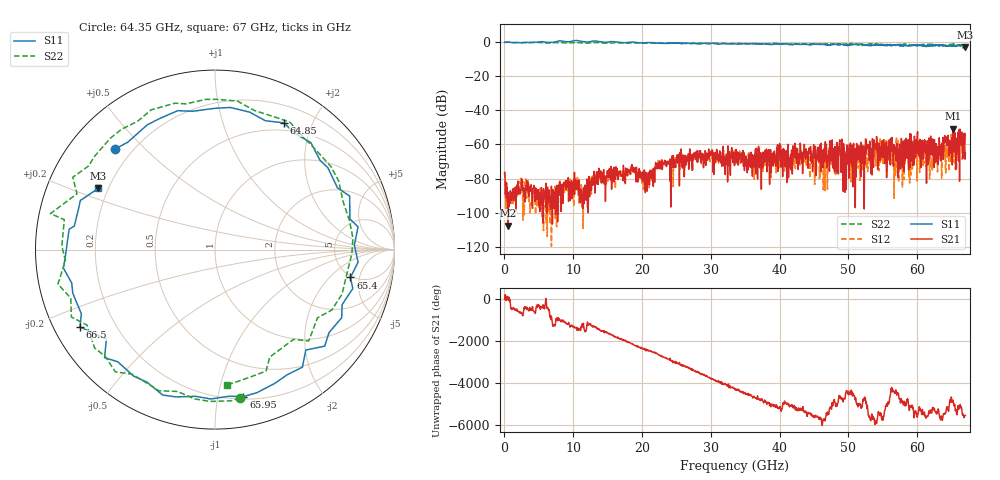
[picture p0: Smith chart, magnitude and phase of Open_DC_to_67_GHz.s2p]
#  HZ  S  MA  R  50.00
! Rohde & Schwarz ZVA67 4Ports - Version 4.11 - 1305.7002k04 SN: 101051
! Date: 2023-05-31 14:28:20
! Measurements: S11 S21 S12 S22
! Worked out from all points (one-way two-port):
!   1340 points, 50 MHz to 67 GHz, reference 50 ohm
!   highest |S21| = -50.64 dB at 65.2 GHz (marker M1); lowest = -107.7 dB at 500 MHz (marker M2)
!   lowest |S11| = -2.7 dB at 67 GHz (marker M3), VSWR 6.53, Z = 8.11 + j12 ohm
!   |S11| at or under -10 dB: nowhere
!   |S22| runs from -3.6 to 0.1 dB; largest |S21 - S12| = 0.0037
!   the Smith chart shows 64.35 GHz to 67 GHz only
!   S11 on the Smith chart (normalised r, x): 64.35 GHz: 0.14, +0.41; 64.85 GHz: 0.40, +1.61; 65.4 GHz: 4.82, -3.68; 65.95 GHz: 0.22, -1.19; 66.5 GHz: 0.08, -0.26; 67 GHz: 0.16, +0.24
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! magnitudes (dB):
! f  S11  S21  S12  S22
! 50 MHz  0.1  -76.4  -76.5  0.0
! 500 MHz  0.2  -107.7  -95.3  0.1
! 11.25 GHz  0.6  -91.0  -93.3  -0.3
! 18.55 GHz  0.2  -71.8  -74.4  -0.4
! 20.95 GHz  -0.1  -76.3  -82.8  -0.5
! 22.4 GHz  -0.5  -70.9  -70.4  -0.4
! 33.55 GHz  -0.9  -66.9  -71.5  -0.7
! 44.7 GHz  -1.1  -70.8  -64.2  -0.9
! 46.1 GHz  -1.1  -68.3  -71.8  -1.2
! 48.65 GHz  -1.2  -64.1  -65.2  -1.4
! 50.35 GHz  -1.4  -63.6  -69.7  -0.7
! 52.8 GHz  -1.7  -62.7  -76.0  -1.0
! 55.85 GHz  -1.5  -65.3  -69.1  -1.5
! 59.9 GHz  -2.1  -57.2  -61.7  -1.9
! 62.85 GHz  -1.8  -60.9  -61.1  -2.1
! 64.35 GHz  -2.0  -60.3  -63.1  -1.5
! 64.85 GHz  -1.9  -61.8  -65.3  -1.2
! 65.2 GHz  -2.3  -50.6  -67.6  -1.4
! 65.4 GHz  -2.3  -61.7  -59.8  -1.5
! 65.95 GHz  -1.6  -56.2  -66.1  -1.9
! 66.5 GHz  -1.2  -60.5  -52.9  -2.5
! 67 GHz  -2.7  -65.0  -53.9  -2.4
